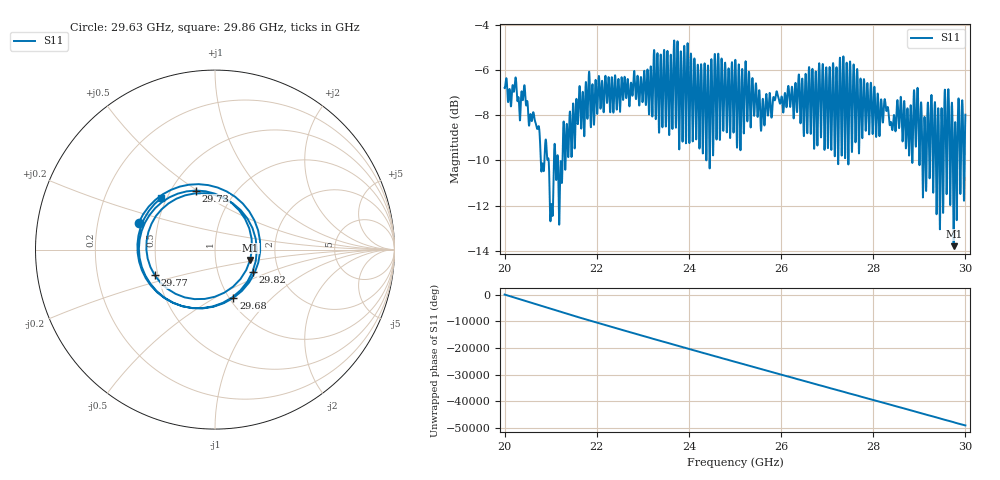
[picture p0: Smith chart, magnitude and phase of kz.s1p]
#  HZ  S  RI  R  50.00
! Rohde & Schwarz ZVA40 4Ports - Version 3.90 - 1145.1110k42 SN: 100403
! Date: 2023-09-28 11:48:57
! Measurement: S22
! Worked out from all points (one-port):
!   5001 points, 20 GHz to 30 GHz, reference 50 ohm
!   lowest |S11| = -13.8 dB at 29.75 GHz (marker M1), VSWR 1.51, Z = 73.7 - j8.89 ohm
!   |S11| at or under -10 dB: 20.7835 GHz to 20.86468 GHz (81.18 MHz wide, 0.39 % of centre); 20.96 GHz to 21.07 GHz (114.3 MHz wide, 0.544 % of centre); 21.15687 GHz to 21.25744 GHz (100.6 MHz wide, 0.474 % of centre)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
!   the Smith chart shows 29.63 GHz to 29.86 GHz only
!   S11 on the Smith chart (normalised r, x): 29.63 GHz: 0.39, +0.15; 29.68 GHz: 1.05, -0.61; 29.73 GHz: 0.66, +0.49; 29.77 GHz: 0.48, -0.16; 29.82 GHz: 1.47, -0.39; 29.86 GHz: 0.47, +0.33
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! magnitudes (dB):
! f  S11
! 20 GHz  -6.8
! 20.66 GHz  -8.2
! 20.82 GHz  -10.1
! 20.92 GHz  -9.8
! 21.01 GHz  -12.0
! 21.25 GHz  -10.7
! 21.8 GHz  -8.1
! 22.5 GHz  -7.6
! 23.61 GHz  -5.3
! 23.72 GHz  -8.5
! 23.75 GHz  -4.8
! 25 GHz  -5.8
! 26.25 GHz  -7.0
! 27.5 GHz  -5.7
! 28.75 GHz  -7.9
! 28.93 GHz  -9.4
! 29.11 GHz  -8.1
! 29.23 GHz  -10.7
! 29.41 GHz  -7.7
! 29.59 GHz  -11.5
! 29.63 GHz  -6.9
! 29.68 GHz  -10.8
! 29.73 GHz  -9.2
! 29.75 GHz  -13.8
! 29.77 GHz  -8.8
! 29.82 GHz  -12.3
! 29.86 GHz  -7.6
! 30 GHz  -8.0
